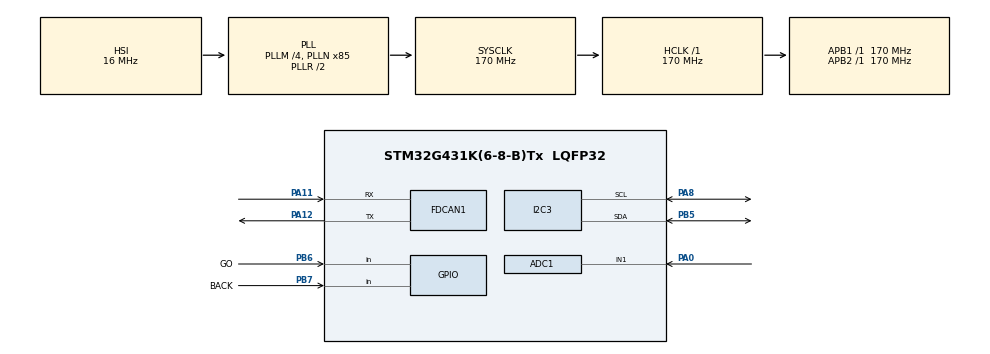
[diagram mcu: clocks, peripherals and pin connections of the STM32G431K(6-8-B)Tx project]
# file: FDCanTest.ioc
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ADC1.Channel-0\#ChannelRegularConversion=ADC_CHANNEL_1
ADC1.ContinuousConvMode=ENABLE
ADC1.DMAContinuousRequests=ENABLE
ADC1.NbrOfConversionFlag=1
ADC1.OffsetNumber-0\#ChannelRegularConversion=ADC_OFFSET_NONE
ADC1.Rank-0\#ChannelRegularConversion=1
ADC1.SamplingTime-0\#ChannelRegularConversion=ADC_SAMPLETIME_640CYCLES_5
ADC1.master=1
Dma.ADC1.0.Direction=DMA_PERIPH_TO_MEMORY
Dma.ADC1.0.EventEnable=DISABLE
Dma.ADC1.0.Instance=DMA1_Channel1
Dma.ADC1.0.MemDataAlignment=DMA_MDATAALIGN_HALFWORD
Dma.ADC1.0.MemInc=DMA_MINC_ENABLE
Dma.ADC1.0.Mode=DMA_CIRCULAR
Dma.ADC1.0.PeriphDataAlignment=DMA_PDATAALIGN_HALFWORD
Dma.ADC1.0.PeriphInc=DMA_PINC_DISABLE
Dma.ADC1.0.Polarity=HAL_DMAMUX_REQ_GEN_RISING
Dma.ADC1.0.Priority=DMA_PRIORITY_LOW
Dma.ADC1.0.RequestNumber=1
Dma.ADC1.0.SignalID=NONE
Dma.ADC1.0.SyncEnable=DISABLE
Dma.ADC1.0.SyncPolarity=HAL_DMAMUX_SYNC_NO_EVENT
Dma.ADC1.0.SyncRequestNumber=1
Dma.ADC1.0.SyncSignalID=NONE
Dma.Request0=ADC1
FDCAN1.AutoRetransmission=ENABLE
FDCAN1.CalculateBaudRateNominal=1000000
FDCAN1.CalculateTimeBitNominal=1000
FDCAN1.CalculateTimeQuantumNominal=100.0
FDCAN1.DataTimeSeg1=7
FDCAN1.DataTimeSeg2=2
FDCAN1.FrameFormat=FDCAN_FRAME_FD_NO_BRS
FDCAN1.NominalPrescaler=17
FDCAN1.NominalTimeSeg1=7
FDCAN1.NominalTimeSeg2=2
FDCAN1.StdFiltersNbr=1
I2C3.Timing=0x40B285C2
Mcu.Family=STM32G4
Mcu.Name=STM32G431K(6-8-B)Tx
Mcu.Package=LQFP32
NVIC.DMA1_Channel1_IRQn=true\:0\:0\:false\:false\:true\:false\:true\:true
NVIC.FDCAN1_IT0_IRQn=true\:0\:0\:false\:false\:true\:true\:true\:true
NVIC.PriorityGroup=NVIC_PRIORITYGROUP_4
PA0.Mode=IN1-Single-Ended
PA0.Signal=ADC1_IN1
PA11.Mode=FDCAN_Activate
PA11.Signal=FDCAN1_RX
PA12.Mode=FDCAN_Activate
PA12.Signal=FDCAN1_TX
PA8.Mode=I2C
PA8.Signal=I2C3_SCL
PB5.Mode=I2C
PB5.Signal=I2C3_SDA
PB6.GPIO_Label=GO
PB6.Signal=GPIO_Input
PB7.GPIO_Label=BACK
PB7.Signal=GPIO_Input
ProjectManager.HeapSize=0x200
ProjectManager.StackSize=0x400
ProjectManager.TargetToolchain=STM32CubeIDE
RCC.ADC12Freq_Value=170000000
RCC.AHBFreq_Value=170000000
RCC.APB1Freq_Value=170000000
RCC.APB1TimFreq_Value=170000000
RCC.APB2Freq_Value=170000000
RCC.APB2TimFreq_Value=170000000
RCC.CortexFreq_Value=170000000
RCC.EXTERNAL_CLOCK_VALUE=12288000
RCC.HCLKFreq_Value=170000000
RCC.HSE_VALUE=8000000
RCC.HSI48_VALUE=48000000
RCC.HSI_VALUE=16000000
RCC.LSE_VALUE=32768
RCC.PLLM=RCC_PLLM_DIV4
RCC.PLLN=85
RCC.SYSCLKFreq_VALUE=170000000
RCC.SYSCLKSource=RCC_SYSCLKSOURCE_PLLCLK
RCC.USBFreq_Value=170000000
RCC.VCOOutputFreq_Value=340000000
VP_SYS_VS_DBSignals.Mode=DisableDeadBatterySignals
board=custom

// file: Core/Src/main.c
/* USER CODE BEGIN Header */
/**
 * G4_CanTesterでFDCANのテストをするためのプログラムです
  ******************************************************************************
  * @file           : main.c
  * @brief          : Main program body
  ******************************************************************************
  * @attention
  *
  * Copyright (c) 2025 STMicroelectronics.
  * All rights reserved.
  *
  * This software is licensed under terms that can be found in the LICENSE file
  * in the root directory of this software component.
  * If no LICENSE file comes with this software, it is provided AS-IS.
  *
  ******************************************************************************
  */
/* USER CODE END Header */
#include "main.h"

/* USER CODE BEGIN Includes */
#include "ssd1306.h"
#include "fonts.h"
/* USER CODE END Includes */

ADC_HandleTypeDef hadc1;
DMA_HandleTypeDef hdma_adc1;

FDCAN_HandleTypeDef hfdcan1;

I2C_HandleTypeDef hi2c3;

/* USER CODE BEGIN PV */
uint32_t voltage = 0;
char text[10];

FDCAN_TxHeaderTypeDef TxHeader;
uint8_t TxData[64] = {0};
FDCAN_RxHeaderTypeDef RxHeader;
uint8_t RxData[64] = {0};
/* USER CODE END PV */

void SystemClock_Config(void);
static void MX_GPIO_Init(void);
static void MX_DMA_Init(void);
static void MX_ADC1_Init(void);
static void MX_FDCAN1_Init(void);
static void MX_I2C3_Init(void);
/* USER CODE BEGIN PFP */
void HAL_FDCAN_RxFifo0Callback(FDCAN_HandleTypeDef *hfdcan, uint32_t RxFifo0ITs) {
	if(hfdcan == &hfdcan1) {
		if((RxFifo0ITs & FDCAN_IT_RX_FIFO0_NEW_MESSAGE)!=RESET)
		{
			if(HAL_FDCAN_GetRxMessage(hfdcan, FDCAN_RX_FIFO0, &RxHeader, RxData) != HAL_OK)
			{
				Error_Handler();
			}
		}
	}
}
/* USER CODE END PFP */

int main(void)
{

  /* MCU Configuration--------------------------------------------------------*/

  /* Reset of all peripherals, Initializes the Flash interface and the Systick. */
  HAL_Init();

  /* Configure the system clock */
  SystemClock_Config();

  /* Initialize all configured peripherals */
  MX_GPIO_Init();
  MX_DMA_Init();
  MX_ADC1_Init();
  MX_FDCAN1_Init();
  MX_I2C3_Init();
  /* USER CODE BEGIN 2 */
  ssd1306_Init(&hi2c3);
  ssd1306_SetCursor(0, 36);
  ssd1306_WriteString("Hello World", Font_11x18, White);
  ssd1306_UpdateScreen(&hi2c3);

  HAL_ADCEx_Calibration_Start(&hadc1, ADC_SINGLE_ENDED);
  HAL_ADC_Start_DMA(&hadc1, &voltage, 1);

  TxData[0] = 1;
  TxData[7] = 1;
  TxData[15] = 1;
  TxData[31] = 1;
  TxData[63] = 1;

  FDCAN_FilterTypeDef sFilterConfig;
  // Configure Rx filter
  sFilterConfig.IdType = FDCAN_STANDARD_ID;
  sFilterConfig.FilterIndex = 0;
  sFilterConfig.FilterType = FDCAN_FILTER_MASK;
  sFilterConfig.FilterConfig = FDCAN_FILTER_TO_RXFIFO0;
  sFilterConfig.FilterID1 = 0x101;
  sFilterConfig.FilterID2 = 0x7F0;
  if (HAL_FDCAN_ConfigFilter(&hfdcan1, &sFilterConfig) != HAL_OK)
  {
  	Error_Handler();
  }
  if (HAL_FDCAN_ConfigGlobalFilter(&hfdcan1, FDCAN_REJECT, FDCAN_REJECT, FDCAN_REJECT_REMOTE, FDCAN_REJECT_REMOTE))
  {
  	Error_Handler();
  }
  // Enable Rx CallBack
  if (HAL_FDCAN_ActivateNotification(&hfdcan1, FDCAN_IT_RX_FIFO0_NEW_MESSAGE, 0) != HAL_OK)
  {
  	Error_Handler();
  }
  // Start the FDCAN module
  if (HAL_FDCAN_Start(&hfdcan1) != HAL_OK)
  {
	  Error_Handler();
  }
  TxHeader.IdType = FDCAN_STANDARD_ID;
  TxHeader.TxFrameType = FDCAN_DATA_FRAME;
  TxHeader.DataLength = FDCAN_DLC_BYTES_64;
  TxHeader.ErrorStateIndicator = FDCAN_ESI_PASSIVE;
  TxHeader.BitRateSwitch = FDCAN_BRS_OFF;
  TxHeader.FDFormat = FDCAN_FD_CAN;
  TxHeader.TxEventFifoControl = FDCAN_NO_TX_EVENTS;
  TxHeader.MessageMarker = 0;
  TxHeader.Identifier = 0x7FF;
  /* USER CODE END 2 */

  /* Infinite loop */
  /* USER CODE BEGIN WHILE */
  while (1)
  {
	  ssd1306_Fill(Black);
	  ssd1306_SetCursor(0, 36);
	  sprintf(text, "%u", voltage);
	  ssd1306_WriteString(text, Font_11x18,White);

	  TxData[0] = voltage % 100;
	  TxData[1] = voltage % 100 + 1;
	  TxData[2] = voltage % 100 + 2;
	  TxData[3] = voltage % 100 + 3;
	  TxData[4] = voltage % 100 + 4;
	  TxData[5] = voltage % 100 + 5;
	  TxData[6] = voltage % 100 + 6;
	  TxData[7] = voltage % 100 + 7;
	  if(HAL_FDCAN_GetTxFifoFreeLevel(&hfdcan1)>=1)
	  {
		  if (HAL_FDCAN_AddMessageToTxFifoQ(&hfdcan1, &TxHeader, TxData) != HAL_OK)
		  {
			  /* Transmission request Error */
//			  Error_Handler();
			  ssd1306_SetCursor(0, 10);
			  ssd1306_WriteString("Error_Handler()", Font_7x10,White);
		  }else{
			  ssd1306_SetCursor(0, 10);
			  ssd1306_WriteString("HAL_OK", Font_7x10,White);
		  }
	  }else{
		  ssd1306_SetCursor(0, 10);
		  ssd1306_WriteString("FreeLevel = 0", Font_7x10,White);
	  }

	  ssd1306_UpdateScreen(&hi2c3);
    /* USER CODE END WHILE */

  }
}

void SystemClock_Config(void)
{
  RCC_OscInitTypeDef RCC_OscInitStruct = {0};
  RCC_ClkInitTypeDef RCC_ClkInitStruct = {0};

  /** Configure the main internal regulator output voltage
  */
  HAL_PWREx_ControlVoltageScaling(PWR_REGULATOR_VOLTAGE_SCALE1_BOOST);

  /** Initializes the RCC Oscillators according to the specified parameters
  * in the RCC_OscInitTypeDef structure.
  */
  RCC_OscInitStruct.OscillatorType = RCC_OSCILLATORTYPE_HSI;
  RCC_OscInitStruct.HSIState = RCC_HSI_ON;
  RCC_OscInitStruct.HSICalibrationValue = RCC_HSICALIBRATION_DEFAULT;
  RCC_OscInitStruct.PLL.PLLState = RCC_PLL_ON;
  RCC_OscInitStruct.PLL.PLLSource = RCC_PLLSOURCE_HSI;
  RCC_OscInitStruct.PLL.PLLM = RCC_PLLM_DIV4;
  RCC_OscInitStruct.PLL.PLLN = 85;
  RCC_OscInitStruct.PLL.PLLP = RCC_PLLP_DIV2;
  RCC_OscInitStruct.PLL.PLLQ = RCC_PLLQ_DIV2;
  RCC_OscInitStruct.PLL.PLLR = RCC_PLLR_DIV2;
  if (HAL_RCC_OscConfig(&RCC_OscInitStruct) != HAL_OK)
  {
    Error_Handler();
  }

  /** Initializes the CPU, AHB and APB buses clocks
  */
  RCC_ClkInitStruct.ClockType = RCC_CLOCKTYPE_HCLK|RCC_CLOCKTYPE_SYSCLK
                              |RCC_CLOCKTYPE_PCLK1|RCC_CLOCKTYPE_PCLK2;
  RCC_ClkInitStruct.SYSCLKSource = RCC_SYSCLKSOURCE_PLLCLK;
  RCC_ClkInitStruct.AHBCLKDivider = RCC_SYSCLK_DIV1;
  RCC_ClkInitStruct.APB1CLKDivider = RCC_HCLK_DIV1;
  RCC_ClkInitStruct.APB2CLKDivider = RCC_HCLK_DIV1;

  if (HAL_RCC_ClockConfig(&RCC_ClkInitStruct, FLASH_LATENCY_4) != HAL_OK)
  {
    Error_Handler();
  }
}

static void MX_ADC1_Init(void)
{

  ADC_MultiModeTypeDef multimode = {0};
  ADC_ChannelConfTypeDef sConfig = {0};

  /** Common config
  */
  hadc1.Instance = ADC1;
  hadc1.Init.ClockPrescaler = ADC_CLOCK_SYNC_PCLK_DIV4;
  hadc1.Init.Resolution = ADC_RESOLUTION_12B;
  hadc1.Init.DataAlign = ADC_DATAALIGN_RIGHT;
  hadc1.Init.GainCompensation = 0;
  hadc1.Init.ScanConvMode = ADC_SCAN_DISABLE;
  hadc1.Init.EOCSelection = ADC_EOC_SINGLE_CONV;
  hadc1.Init.LowPowerAutoWait = DISABLE;
  hadc1.Init.ContinuousConvMode = ENABLE;
  hadc1.Init.NbrOfConversion = 1;
  hadc1.Init.DiscontinuousConvMode = DISABLE;
  hadc1.Init.ExternalTrigConv = ADC_SOFTWARE_START;
  hadc1.Init.ExternalTrigConvEdge = ADC_EXTERNALTRIGCONVEDGE_NONE;
  hadc1.Init.DMAContinuousRequests = ENABLE;
  hadc1.Init.Overrun = ADC_OVR_DATA_PRESERVED;
  hadc1.Init.OversamplingMode = DISABLE;
  if (HAL_ADC_Init(&hadc1) != HAL_OK)
  {
    Error_Handler();
  }

  /** Configure the ADC multi-mode
  */
  multimode.Mode = ADC_MODE_INDEPENDENT;
  if (HAL_ADCEx_MultiModeConfigChannel(&hadc1, &multimode) != HAL_OK)
  {
    Error_Handler();
  }

  /** Configure Regular Channel
  */
  sConfig.Channel = ADC_CHANNEL_1;
  sConfig.Rank = ADC_REGULAR_RANK_1;
  sConfig.SamplingTime = ADC_SAMPLETIME_640CYCLES_5;
  sConfig.SingleDiff = ADC_SINGLE_ENDED;
  sConfig.OffsetNumber = ADC_OFFSET_NONE;
  sConfig.Offset = 0;
  if (HAL_ADC_ConfigChannel(&hadc1, &sConfig) != HAL_OK)
  {
    Error_Handler();
  }

}

static void MX_FDCAN1_Init(void)
{

  hfdcan1.Instance = FDCAN1;
  hfdcan1.Init.ClockDivider = FDCAN_CLOCK_DIV1;
  hfdcan1.Init.FrameFormat = FDCAN_FRAME_FD_NO_BRS;
  hfdcan1.Init.Mode = FDCAN_MODE_NORMAL;
  hfdcan1.Init.AutoRetransmission = ENABLE;
  hfdcan1.Init.TransmitPause = DISABLE;
  hfdcan1.Init.ProtocolException = DISABLE;
  hfdcan1.Init.NominalPrescaler = 17;
  hfdcan1.Init.NominalSyncJumpWidth = 1;
  hfdcan1.Init.NominalTimeSeg1 = 7;
  hfdcan1.Init.NominalTimeSeg2 = 2;
  hfdcan1.Init.DataPrescaler = 1;
  hfdcan1.Init.DataSyncJumpWidth = 1;
  hfdcan1.Init.DataTimeSeg1 = 7;
  hfdcan1.Init.DataTimeSeg2 = 2;
  hfdcan1.Init.StdFiltersNbr = 1;
  hfdcan1.Init.ExtFiltersNbr = 0;
  hfdcan1.Init.TxFifoQueueMode = FDCAN_TX_FIFO_OPERATION;
  if (HAL_FDCAN_Init(&hfdcan1) != HAL_OK)
  {
    Error_Handler();
  }

}

static void MX_I2C3_Init(void)
{

  hi2c3.Instance = I2C3;
  hi2c3.Init.Timing = 0x40B285C2;
  hi2c3.Init.OwnAddress1 = 0;
  hi2c3.Init.AddressingMode = I2C_ADDRESSINGMODE_7BIT;
  hi2c3.Init.DualAddressMode = I2C_DUALADDRESS_DISABLE;
  hi2c3.Init.OwnAddress2 = 0;
  hi2c3.Init.OwnAddress2Masks = I2C_OA2_NOMASK;
  hi2c3.Init.GeneralCallMode = I2C_GENERALCALL_DISABLE;
  hi2c3.Init.NoStretchMode = I2C_NOSTRETCH_DISABLE;
  if (HAL_I2C_Init(&hi2c3) != HAL_OK)
  {
    Error_Handler();
  }

  /** Configure Analogue filter
  */
  if (HAL_I2CEx_ConfigAnalogFilter(&hi2c3, I2C_ANALOGFILTER_ENABLE) != HAL_OK)
  {
    Error_Handler();
  }

  /** Configure Digital filter
  */
  if (HAL_I2CEx_ConfigDigitalFilter(&hi2c3, 0) != HAL_OK)
  {
    Error_Handler();
  }

}

static void MX_DMA_Init(void)
{

  /* DMA controller clock enable */
  __HAL_RCC_DMAMUX1_CLK_ENABLE();
  __HAL_RCC_DMA1_CLK_ENABLE();

  /* DMA interrupt init */
  /* DMA1_Channel1_IRQn interrupt configuration */
  HAL_NVIC_SetPriority(DMA1_Channel1_IRQn, 0, 0);
  HAL_NVIC_EnableIRQ(DMA1_Channel1_IRQn);

}

static void MX_GPIO_Init(void)
{
  GPIO_InitTypeDef GPIO_InitStruct = {0};

  /* GPIO Ports Clock Enable */
  __HAL_RCC_GPIOA_CLK_ENABLE();
  __HAL_RCC_GPIOB_CLK_ENABLE();

  /*Configure GPIO pins : GO_Pin BACK_Pin */
  GPIO_InitStruct.Pin = GO_Pin|BACK_Pin;
  GPIO_InitStruct.Mode = GPIO_MODE_INPUT;
  GPIO_InitStruct.Pull = GPIO_NOPULL;
  HAL_GPIO_Init(GPIOB, &GPIO_InitStruct);

}

void Error_Handler(void)
{
  __disable_irq();
  while (1)
  {
  }
}
